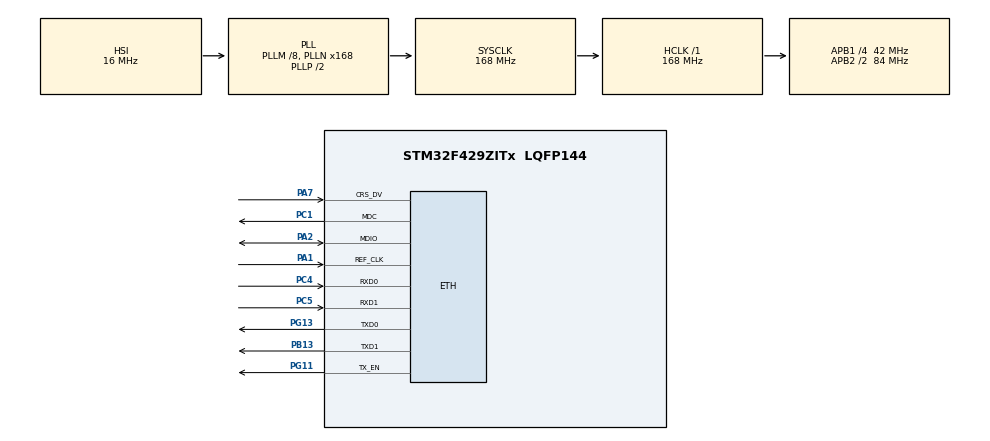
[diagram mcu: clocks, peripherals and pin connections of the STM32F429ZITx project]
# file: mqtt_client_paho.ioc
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Mcu.Family=STM32F4
VP_SYS_VS_tim6.Mode=TIM6
RCC.CortexFreq_Value=168000000
FREERTOS.Tasks01=defaultTask,0,512,StartDefaultTask,Default,NULL,Dynamic,NULL,NULL
PA7.Mode=RMII
NVIC.TIM6_DAC_IRQn=true\:0\:0\:false\:false\:true\:false\:false\:true
PC4.Signal=ETH_RXD0
PC14/OSC32_IN.Mode=LSE-External-Oscillator
LWIP.LWIP_DHCP=0
PC5.Mode=RMII
RCC.APB1CLKDivider=RCC_HCLK_DIV4
PB13.Signal=ETH_TXD1
PG13.Signal=ETH_TXD0
ETH.PhyAddress=0
PG11.Signal=ETH_TX_EN
RCC.SYSCLKSource=RCC_SYSCLKSOURCE_PLLCLK
ProjectManager.StackSize=0x4000
VP_LWIP_VS_Enabled.Mode=Enabled
LWIP.GATEWAY_ADDRESS=192.168.001.001
LWIP.NETMASK_ADDRESS=255.255.255.000
PA13.Signal=SYS_JTMS-SWDIO
FREERTOS.configENABLE_FPU=1
ProjectManager.TargetToolchain=STM32CubeIDE
PH0/OSC_IN.Mode=HSE-External-Clock-Source
RCC.HCLKFreq_Value=168000000
RCC.APB2TimFreq_Value=168000000
PH1/OSC_OUT.Signal=RCC_OSC_OUT
FREERTOS.configMINIMAL_STACK_SIZE=512
PA1.Signal=ETH_REF_CLK
RCC.AHBFreq_Value=168000000
NVIC.ETH_IRQn=true\:5\:0\:false\:false\:true\:true\:false\:true
RCC.HSE_VALUE=8000000
board=custom
RCC.VCOOutputFreq_Value=336000000
PH0/OSC_IN.Signal=RCC_OSC_IN
RCC.APB2Freq_Value=84000000
PA1.Mode=RMII
PA14.Mode=Serial_Wire
LWIP.LWIP_SO_RCVBUF=1
PG13.Mode=RMII
VP_FREERTOS_VS_CMSIS_V1.Mode=CMSIS_V1
PA13.Mode=Serial_Wire
PH1/OSC_OUT.Mode=HSE-External-Clock-Source
Mcu.Name=STM32F429ZITx
FREERTOS.configTOTAL_HEAP_SIZE=32768
PA2.Signal=ETH_MDIO
RCC.48MHZClocksFreq_Value=84000000
RCC.SYSCLKFreq_VALUE=168000000
Mcu.Package=LQFP144
ETH.MediaInterface=ETH_MEDIA_INTERFACE_RMII
NVIC.TimeBase=TIM6_DAC_IRQn
PC14/OSC32_IN.Signal=RCC_OSC32_IN
PC15/OSC32_OUT.Mode=LSE-External-Oscillator
PG11.Mode=RMII
NVIC.TimeBaseIP=TIM6
PA14.Signal=SYS_JTCK-SWCLK
ProjectManager.HeapSize=0x2000
LWIP.Version=v2.1.2_Cube
RCC.HSI_VALUE=16000000
NVIC.PriorityGroup=NVIC_PRIORITYGROUP_4
RCC.APB2CLKDivider=RCC_HCLK_DIV2
RCC.PLLM=8
RCC.PLLN=168
RCC.APB1TimFreq_Value=84000000
PA2.Mode=RMII
PC15/OSC32_OUT.Signal=RCC_OSC32_OUT
PC5.Signal=ETH_RXD1
PB13.Mode=RMII
RCC.APB1Freq_Value=42000000
PC1.Signal=ETH_MDC
PC4.Mode=RMII
LWIP.IP_ADDRESS=192.168.001.003
PC1.Mode=RMII
PA7.Signal=ETH_CRS_DV

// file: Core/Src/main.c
/* USER CODE BEGIN Header */
/**
  ******************************************************************************
  * @file           : main.c
  * @brief          : Main program body
  ******************************************************************************
  * @attention
  *
  * <h2><center>&copy; Copyright (c) 2023 STMicroelectronics.
  * All rights reserved.</center></h2>
  *
  * This software component is licensed by ST under BSD 3-Clause license,
  * the "License"; You may not use this file except in compliance with the
  * License. You may obtain a copy of the License at:
  *                        opensource.org/licenses/BSD-3-Clause
  *
  ******************************************************************************
  */
/* USER CODE END Header */
#include "main.h"
#include "cmsis_os.h"
#include "lwip.h"
#include "gpio.h"

/* USER CODE BEGIN Includes */
#include <stdio.h>
#include <stdint.h>
/* USER CODE END Includes */

/* USER CODE BEGIN PV */
extern uint32_t mili_timer;
/* USER CODE END PV */

void SystemClock_Config(void);
void MX_FREERTOS_Init(void);

int main(void)
{

  /* MCU Configuration--------------------------------------------------------*/

  /* Reset of all peripherals, Initializes the Flash interface and the Systick. */
  HAL_Init();

  /* Configure the system clock */
  SystemClock_Config();

  /* Initialize all configured peripherals */
  MX_GPIO_Init();

  /* Call init function for freertos objects (in freertos.c) */
  MX_FREERTOS_Init();
  /* Start scheduler */
  osKernelStart();

  /* We should never get here as control is now taken by the scheduler */
  /* Infinite loop */
  while (1)
  {

  }
}

void SystemClock_Config(void)
{
  RCC_OscInitTypeDef RCC_OscInitStruct = {0};
  RCC_ClkInitTypeDef RCC_ClkInitStruct = {0};

  /** Configure the main internal regulator output voltage
  */
  __HAL_RCC_PWR_CLK_ENABLE();
  __HAL_PWR_VOLTAGESCALING_CONFIG(PWR_REGULATOR_VOLTAGE_SCALE1);
  /** Initializes the RCC Oscillators according to the specified parameters
  * in the RCC_OscInitTypeDef structure.
  */
  RCC_OscInitStruct.OscillatorType = RCC_OSCILLATORTYPE_HSI;
  RCC_OscInitStruct.HSIState = RCC_HSI_ON;
  RCC_OscInitStruct.HSICalibrationValue = RCC_HSICALIBRATION_DEFAULT;
  RCC_OscInitStruct.PLL.PLLState = RCC_PLL_ON;
  RCC_OscInitStruct.PLL.PLLSource = RCC_PLLSOURCE_HSI;
  RCC_OscInitStruct.PLL.PLLM = 8;
  RCC_OscInitStruct.PLL.PLLN = 168;
  RCC_OscInitStruct.PLL.PLLP = RCC_PLLP_DIV2;
  RCC_OscInitStruct.PLL.PLLQ = 4;
  if (HAL_RCC_OscConfig(&RCC_OscInitStruct) != HAL_OK)
  {
    Error_Handler();
  }
  /** Initializes the CPU, AHB and APB buses clocks
  */
  RCC_ClkInitStruct.ClockType = RCC_CLOCKTYPE_HCLK|RCC_CLOCKTYPE_SYSCLK
                              |RCC_CLOCKTYPE_PCLK1|RCC_CLOCKTYPE_PCLK2;
  RCC_ClkInitStruct.SYSCLKSource = RCC_SYSCLKSOURCE_PLLCLK;
  RCC_ClkInitStruct.AHBCLKDivider = RCC_SYSCLK_DIV1;
  RCC_ClkInitStruct.APB1CLKDivider = RCC_HCLK_DIV4;
  RCC_ClkInitStruct.APB2CLKDivider = RCC_HCLK_DIV2;

  if (HAL_RCC_ClockConfig(&RCC_ClkInitStruct, FLASH_LATENCY_5) != HAL_OK)
  {
    Error_Handler();
  }
}

 /**
  * @brief  Period elapsed callback in non blocking mode
  * @note   This function is called  when TIM6 interrupt took place, inside
  * HAL_TIM_IRQHandler(). It makes a direct call to HAL_IncTick() to increment
  * a global variable "uwTick" used as application time base.
  * @param  htim : TIM handle
  * @retval None
  */
void HAL_TIM_PeriodElapsedCallback(TIM_HandleTypeDef *htim)
{
  if (htim->Instance == TIM6) {
    HAL_IncTick();
  }
  /* USER CODE BEGIN Callback 1 */
  if (htim->Instance == TIM6)
  {
	  mili_timer++;
  }
  /* USER CODE END Callback 1 */
}

void Error_Handler(void)
{
  __disable_irq();
  while (1)
  {
  }
}

/************************ (C) COPYRIGHT STMicroelectronics *****END OF FILE****/

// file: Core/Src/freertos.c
/* USER CODE BEGIN Header */
/**
  ******************************************************************************
  * File Name          : freertos.c
  * Description        : Code for freertos applications
  ******************************************************************************
  * @attention
  *
  * <h2><center>&copy; Copyright (c) 2023 STMicroelectronics.
  * All rights reserved.</center></h2>
  *
  * This software component is licensed by ST under Ultimate Liberty license
  * SLA0044, the "License"; You may not use this file except in compliance with
  * the License. You may obtain a copy of the License at:
  *                             www.st.com/SLA0044
  *
  ******************************************************************************
  */
/* USER CODE END Header */

#include "FreeRTOS.h"
#include "task.h"
#include "main.h"
#include "cmsis_os.h"

/* USER CODE BEGIN Includes */
#include <stdint.h>
#include <stdio.h>
#include <string.h>
#include "MQTTClient.h"
#include "MQTTInterface.h"
#include "lwip.h"
#include "lwip/api.h"
/* USER CODE END Includes */

/* USER CODE BEGIN PD */
#define BROKER_IP "192.168.1.2"
#define MQTT_PORT 1883
#define MQTT_BUFSIZE 200
/* USER CODE END PD */

/* USER CODE BEGIN Variables */
osThreadId mqtt_client_pub_task_handle;

Network network;
MQTTClient mqtt_client;

uint8_t send_buffer[MQTT_BUFSIZE];
uint8_t recv_buffer[MQTT_BUFSIZE];
uint8_t msg_buffer[MQTT_BUFSIZE];

uint32_t current_time = 0;
uint32_t previous_time = 0;

/* USER CODE END Variables */
osThreadId defaultTaskHandle;

/* USER CODE BEGIN FunctionPrototypes */
void mqtt_client_pub_task(void const* argument);
int mqtt_connect_broker(void);
void mqtt_message_arrived(MessageData* msg);
/* USER CODE END FunctionPrototypes */

void StartDefaultTask(void const * argument);

extern void MX_LWIP_Init(void);
void MX_FREERTOS_Init(void); /* (MISRA C 2004 rule 8.1) */

/* GetIdleTaskMemory prototype (linked to static allocation support) */
void vApplicationGetIdleTaskMemory( StaticTask_t **ppxIdleTaskTCBBuffer, StackType_t **ppxIdleTaskStackBuffer, uint32_t *pulIdleTaskStackSize );

/* USER CODE BEGIN GET_IDLE_TASK_MEMORY */
static StaticTask_t xIdleTaskTCBBuffer;
static StackType_t xIdleStack[configMINIMAL_STACK_SIZE];

void vApplicationGetIdleTaskMemory( StaticTask_t **ppxIdleTaskTCBBuffer, StackType_t **ppxIdleTaskStackBuffer, uint32_t *pulIdleTaskStackSize )
{
  *ppxIdleTaskTCBBuffer = &xIdleTaskTCBBuffer;
  *ppxIdleTaskStackBuffer = &xIdleStack[0];
  *pulIdleTaskStackSize = configMINIMAL_STACK_SIZE;
  /* place for user code */
}
/* USER CODE END GET_IDLE_TASK_MEMORY */

void MX_FREERTOS_Init(void) {

  /* Create the thread(s) */
  /* definition and creation of defaultTask */
  osThreadDef(defaultTask, StartDefaultTask, osPriorityNormal, 0, 512);
  defaultTaskHandle = osThreadCreate(osThread(defaultTask), NULL);

}

void StartDefaultTask(void const * argument)
{
  /* init code for LWIP */
  MX_LWIP_Init();
  /* USER CODE BEGIN StartDefaultTask */

  osThreadDef(mqttClientPubTask, mqtt_client_pub_task, osPriorityNormal, 0, configMINIMAL_STACK_SIZE);
  mqtt_client_pub_task_handle = osThreadCreate(osThread(mqttClientPubTask), NULL);

  /* Infinite loop */
  for(;;)
  {
    osDelay(500);
  }
  /* USER CODE END StartDefaultTask */
}

/* USER CODE BEGIN Application */

void mqtt_client_pub_task(void const* argument)
{
	NewNetwork(&network);

	int ret;
	ret = ConnectNetwork(&network, BROKER_IP, MQTT_PORT);
	if (ret != MQTT_SUCCESS)
	{
		printf("ConnectNetwork failed.");
		while(1);
	}

	MQTTClientInit(&mqtt_client, &network, 1000, send_buffer, sizeof(send_buffer), recv_buffer, sizeof(recv_buffer));

	MQTTPacket_connectData connect_data = MQTTPacket_connectData_initializer;
	connect_data.willFlag = 1;
	connect_data.will.topicName.cstring = "info/device";
	connect_data.will.message.cstring = "I was disconnected";
	connect_data.will.qos = 0;
	connect_data.will.retained = 0;
	connect_data.MQTTVersion = 4;
	connect_data.clientID.cstring = "stm krzysiu";
	connect_data.username.cstring = "login";
	connect_data.password.cstring = "pass";
	connect_data.keepAliveInterval = 300;
	connect_data.cleansession = 1;

	ret = MQTTConnect(&mqtt_client, &connect_data);
	if (ret != MQTT_SUCCESS)
	{
		printf("MQTTConnect failed. \n");
		while(1);
	}

	char* str_qos_0 = "qos 0 msg";
	MQTTMessage msg_qos_0 = { .payload=(void*)(str_qos_0), .payloadlen=strlen(str_qos_0), .qos=0, .retained=0 };
	MQTTPublish(&mqtt_client, "sensor/temp", &msg_qos_0);

	char* str_qos_1 = "qos 1 msg";
	MQTTMessage msg_qos_1 = { .payload=(void*)(str_qos_1), .payloadlen=strlen(str_qos_1), .qos=1, .retained=0 };
	MQTTPublish(&mqtt_client, "sensor/temp", &msg_qos_1);

	char* str_qos_2 = "qos 2 msg";
	MQTTMessage msg_qos_2 = { .payload=(void*)(str_qos_2), .payloadlen=strlen(str_qos_2), .qos=2, .retained=0 };
	MQTTPublish(&mqtt_client, "sensor/temp", &msg_qos_2);

	MQTTSubscribe(&mqtt_client, "drive/voltage", QOS0, mqtt_message_arrived);
	MQTTSubscribe(&mqtt_client, "drive/current", QOS1, mqtt_message_arrived);
	MQTTSubscribe(&mqtt_client, "drive/power", QOS2, mqtt_message_arrived);

	char* str_new = "check if ok payload";
	MQTTMessage msg_new = { .payload=(void*)(str_new), .payloadlen=strlen(str_new), .qos=2, .retained=0 };
	MQTTPublish(&mqtt_client, "sensor/temp", &msg_new);

	while(1)
	{
		MQTTYield(&mqtt_client,  1000);
	}
}

void mqtt_message_arrived(MessageData* msg)
{
	MQTTMessage* message = msg->message;
	memcpy(msg_buffer, message->payload, message->payloadlen);

	printf("MQTT MSG[%d]:%s\n", (int)message->payloadlen, msg_buffer);
}

/* USER CODE END Application */

/************************ (C) COPYRIGHT STMicroelectronics *****END OF FILE****/
